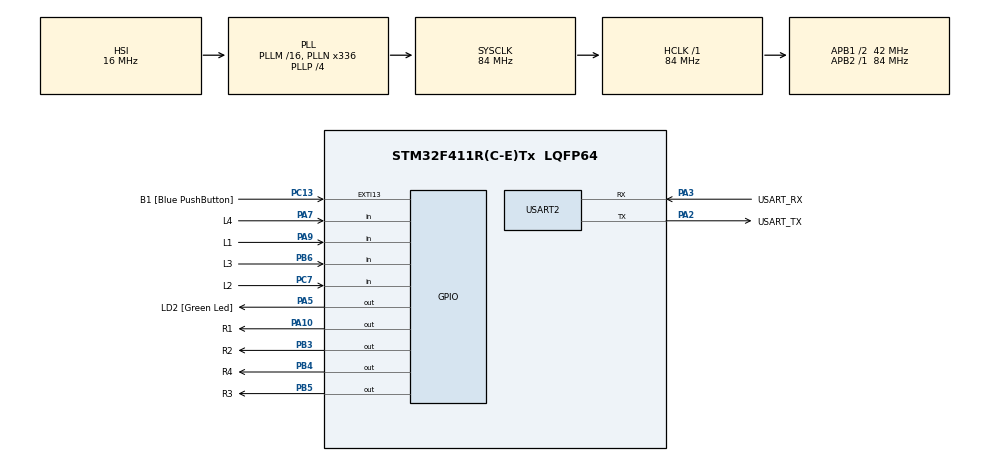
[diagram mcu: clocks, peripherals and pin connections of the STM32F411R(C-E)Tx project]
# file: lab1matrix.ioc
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Mcu.Family=STM32F4
Mcu.Name=STM32F411R(C-E)Tx
Mcu.Package=LQFP64
NVIC.PriorityGroup=NVIC_PRIORITYGROUP_0
PA10.GPIO_Label=R1
PA10.Signal=GPIO_Output
PA13.GPIO_Label=TMS
PA13.Mode=Serial_Wire
PA13.Signal=SYS_JTMS-SWDIO
PA14.GPIO_Label=TCK
PA14.Mode=Serial_Wire
PA14.Signal=SYS_JTCK-SWCLK
PA2.GPIO_Label=USART_TX
PA2.Mode=Asynchronous
PA2.Signal=USART2_TX
PA3.GPIO_Label=USART_RX
PA3.Mode=Asynchronous
PA3.Signal=USART2_RX
PA5.GPIO_Label=LD2 [Green Led]
PA5.Signal=GPIO_Output
PA7.GPIO_Label=L4
PA7.GPIO_PuPd=GPIO_PULLUP
PA7.Signal=GPIO_Input
PA9.GPIO_Label=L1
PA9.GPIO_PuPd=GPIO_PULLUP
PA9.Signal=GPIO_Input
PB3.GPIO_Label=R2
PB3.Signal=GPIO_Output
PB4.GPIO_Label=R4
PB4.Signal=GPIO_Output
PB5.GPIO_Label=R3
PB5.Signal=GPIO_Output
PB6.GPIO_Label=L3
PB6.GPIO_PuPd=GPIO_PULLUP
PB6.Signal=GPIO_Input
PC13-ANTI_TAMP.GPIO_Label=B1 [Blue PushButton]
PC13-ANTI_TAMP.GPIO_ModeDefaultEXTI=GPIO_MODE_IT_FALLING
PC13-ANTI_TAMP.Signal=GPXTI13
PC14-OSC32_IN.Mode=LSE-External-Oscillator
PC14-OSC32_IN.Signal=RCC_OSC32_IN
PC15-OSC32_OUT.Mode=LSE-External-Oscillator
PC15-OSC32_OUT.Signal=RCC_OSC32_OUT
PC7.GPIO_Label=L2
PC7.GPIO_PuPd=GPIO_PULLUP
PC7.Signal=GPIO_Input
PH0\ -\ OSC_IN.Mode=HSE-External-Clock-Source
PH0\ -\ OSC_IN.Signal=RCC_OSC_IN
PH1\ -\ OSC_OUT.Mode=HSE-External-Clock-Source
PH1\ -\ OSC_OUT.Signal=RCC_OSC_OUT
ProjectManager.HeapSize=0x200
ProjectManager.StackSize=0x400
ProjectManager.TargetToolchain=STM32CubeIDE
RCC.48MHZClocksFreq_Value=84000000
RCC.AHBFreq_Value=84000000
RCC.APB1CLKDivider=RCC_HCLK_DIV2
RCC.APB1Freq_Value=42000000
RCC.APB1TimFreq_Value=84000000
RCC.APB2Freq_Value=84000000
RCC.APB2TimFreq_Value=84000000
RCC.CortexFreq_Value=84000000
RCC.FLatency-AdvancedSettings=FLASH_LATENCY_2
RCC.HCLKFreq_Value=84000000
RCC.HSE_VALUE=8000000
RCC.HSI_VALUE=16000000
RCC.PLLN=336
RCC.PLLP=RCC_PLLP_DIV4
RCC.SYSCLKFreq_VALUE=84000000
RCC.SYSCLKSource=RCC_SYSCLKSOURCE_PLLCLK
RCC.VCOOutputFreq_Value=336000000
USART2.VirtualMode=VM_ASYNC
board=NUCLEO-F411RE

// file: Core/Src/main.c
/* USER CODE BEGIN Header */
/**
 ******************************************************************************
 * @file           : main.c
 * @brief          : Main program body
 ******************************************************************************
 * @attention
 *
 * Copyright (c) 2023 STMicroelectronics.
 * All rights reserved.
 *
 * This software is licensed under terms that can be found in the LICENSE file
 * in the root directory of this software component.
 * If no LICENSE file comes with this software, it is provided AS-IS.
 *
 ******************************************************************************
 */
/* USER CODE END Header */
#include "main.h"

UART_HandleTypeDef huart2;

/* USER CODE BEGIN PV */
typedef struct _PortPin {
	GPIO_TypeDef *PORT;
	uint16_t PIN;
} PortPin;

PortPin R[4] = { { GPIOA, GPIO_PIN_10 }, { GPIOB, GPIO_PIN_3 }, { GPIOB,
GPIO_PIN_5 }, { GPIOB, GPIO_PIN_4 } };

PortPin L[4] = { { GPIOA, GPIO_PIN_9 }, { GPIOC, GPIO_PIN_7 }, { GPIOB,
GPIO_PIN_6 }, { GPIOA, GPIO_PIN_7 } };
uint16_t Number[13];
int num = 0;
int state = 0;
int savenum = 0;
int fake = 0;
int chick = 0;
uint16_t ButtonMatrix = 0;

/* USER CODE END PV */

void SystemClock_Config(void);
static void MX_GPIO_Init(void);
static void MX_USART2_UART_Init(void);
/* USER CODE BEGIN PFP */
void ReadMatrixButton_1Row();
/* USER CODE END PFP */

int main(void) {

	/* MCU Configuration--------------------------------------------------------*/

	/* Reset of all peripherals, Initializes the Flash interface and the Systick. */
	HAL_Init();

	/* Configure the system clock */
	SystemClock_Config();

	/* Initialize all configured peripherals */
	MX_GPIO_Init();
	MX_USART2_UART_Init();

	/* Infinite loop */
	while (1) {

		/* USER CODE BEGIN 3 */
		static uint32_t timestamp = 0;
		if (HAL_GetTick() >= timestamp) {
			timestamp = HAL_GetTick() + 10;
			ReadMatrixButton_1Row();

		}
		if (num == 0 & ButtonMatrix > 0) {
			chick = 1;
		} else {

			chick = 0;
		}
		num = ButtonMatrix;

		switch (state) {
		case 0:
			if (ButtonMatrix == 1 & chick == 1) {
				state = 0;

			} else if (ButtonMatrix == 512 & chick == 1) //6
					{
				Number[0] = 6;
				state = 1;
			} else if (ButtonMatrix != 512 & chick == 1) {
				state = 11;
			}

			break;
		case 1:
			if (ButtonMatrix == 1 & chick == 1) {
				state = 0;
				Number[0] = 0;
				Number[1] = 0;
				Number[2] = 0;
				Number[3] = 0;
				Number[4] = 0;
				Number[5] = 0;
				Number[6] = 0;
				Number[7] = 0;
				Number[8] = 0;
				Number[9] = 0;
				Number[10] = 0;
			} else if (ButtonMatrix == 8192 & chick == 1) // 4
					{
				Number[1] = 4;
				state = 2;
			} else if (ButtonMatrix != 8192 & chick == 1) {
				state = 11;
			}

			break;
		case 2:
			if (ButtonMatrix == 1 & chick == 1) {
				state = 0;
				Number[0] = 0;
				Number[1] = 0;
				Number[2] = 0;
				Number[3] = 0;
				Number[4] = 0;
				Number[5] = 0;
				Number[6] = 0;
				Number[7] = 0;
				Number[8] = 0;
				Number[9] = 0;
				Number[10] = 0;
			} else if (ButtonMatrix == 1024 & chick == 1) // 3
					{
				Number[2] = 3;
				state = 3;
			} else if (ButtonMatrix != 1024 & chick == 1) {
				state = 11;
			}
			break;
		case 3:
			if(ButtonMatrix == 1 & chick == 1){
				state = 0 ;
				Number[0] = 0;
			    Number[1] = 0;
				Number[2] = 0;
				Number[3] = 0;
				Number[4] = 0;
				Number[5] = 0;
				Number[6] = 0;
				Number[7] = 0;
				Number[8] = 0;
				Number[9] = 0;
				Number[10] = 0;
			}
			  else if (ButtonMatrix == 8192 & chick == 1) // 4
					{
				Number[3] = 4;
				state = 4;
			} else if (ButtonMatrix != 8192 & chick == 1) {
				state = 11;
			}
			break;
		case 4:
			if(ButtonMatrix == 1 & chick == 1){
				state = 0;
				Number[0] = 0;
				Number[1] = 0;
				Number[2] = 0;
				Number[3] = 0;
				Number[4] = 0;
				Number[5] = 0;
				Number[6] = 0;
				Number[7] = 0;
				Number[8] = 0;
				Number[9] = 0;
				Number[10] = 0;
			}
		      else if (ButtonMatrix == 32768 & chick == 1) // 0
					{
				Number[4] = 0;
				state = 5;
			} else if (ButtonMatrix != 32768 & chick == 1) {
				state = 11;
			}
			break;
		case 5:
			if(ButtonMatrix == 1 & chick == 1)
			{
				state = 0;
				Number[0] = 0;
				Number[1] = 0;
				Number[2] = 0;
				Number[3] = 0;
				Number[4] = 0;
			    Number[5] = 0;
				Number[6] = 0;
				Number[7] = 0;
				Number[8] = 0;
				Number[9] = 0;
				Number[10] = 0;
			}
		      else if (ButtonMatrix == 32 & chick == 1) // 5
					{
				Number[5] = 5;
				state = 6;
			} else if (ButtonMatrix != 32 & chick == 1) {
				state = 11;
			}
			break;
		case 6:
			if(ButtonMatrix == 1 & chick == 1)
			{
				state = 0;
				Number[0] = 0;
				Number[1] = 0;
				Number[2] = 0;
				Number[3] = 0;
				Number[4] = 0;
				Number[5] = 0;
				Number[6] = 0;
				Number[7] = 0;
				Number[8] = 0;
			    Number[9] = 0;
				Number[10] = 0;
			}
			else if (ButtonMatrix == 32768 & chick == 1) // 0
					{
				Number[6] = 0;
				state = 7;
			} else if (ButtonMatrix != 32768 & chick == 1) {
				state = 11;
			}
			break;
		case 7:
             if(ButtonMatrix == 1 & chick == 1)
             {
            	 state = 0;
            	 Number[0] = 0;
            	 Number[1] = 0;
            	 Number[2] = 0;
            	 Number[3] = 0;
            	 Number[4] = 0;
            	 Number[5] = 0;
            	 Number[6] = 0;
            	 Number[7] = 0;
            	 Number[8] = 0;
            	 Number[9] = 0;
            	 Number[10] = 0;
             }
             else if (ButtonMatrix == 32768 & chick == 1) // 0
					{
				Number[7] = 0;
				state = 8;
			} else if (ButtonMatrix != 32768 & chick == 1) {
				state = 11;
			}
			break;
		case 8:
			if(ButtonMatrix == 1 & chick == 1)
			{
				state = 0;
				Number[0] = 0;
				Number[1] = 0;
				Number[2] = 0;
				Number[3] = 0;
				Number[4] = 0;
				Number[5] = 0;
				Number[6] = 0;
				Number[7] = 0;
				Number[8] = 0;
				Number[9] = 0;
				Number[10] = 0;
			}
			else if (ButtonMatrix == 32768 & chick == 1) // 0
					{
				Number[8] = 0;
				state = 9;
			} else if (ButtonMatrix != 32768 & chick == 1) {
				state = 11;
			}
			break;
		case 9:
			if (ButtonMatrix == 1 & chick == 1)
			{
				state = 0;
				Number[0] = 0;
		    	Number[1] = 0;
				Number[2] = 0;
				Number[3] = 0;
				Number[4] = 0;
				Number[5] = 0;
				Number[6] = 0;
				Number[7] = 0;
				Number[8] = 0;
				Number[9] = 0;
				Number[10] = 0;
			}
			else if (ButtonMatrix == 32 & chick == 1) // 5
					{
				Number[9] = 5;
				state = 10;
			} else if (ButtonMatrix != 32 & chick == 1) {
				state = 11;
			}
			break;
		case 10:
			if(ButtonMatrix == 1 & chick == 1)
			{
				state = 0;
				Number[0] = 0;
				Number[1] = 0;
				Number[2] = 0;
				Number[3] = 0;
				Number[4] = 0;
				Number[5] = 0;
				Number[6] = 0;
				Number[7] = 0;
				Number[8] = 0;
			    Number[9] = 0;
			    Number[10] = 0;
			}
			if (ButtonMatrix == 32768 & chick == 1) // 0
					{
				Number[10] = 0;
				state = 12;
			} else if (ButtonMatrix == 32768 & chick == 1) {
				state = 11;
			}
			break;

		case 11:
			HAL_GPIO_WritePin(GPIOA, GPIO_PIN_5, RESET);
			if (ButtonMatrix == 1 & chick == 1) {
				state = 0;

				Number[0] = 0;
				Number[1] = 0;
				Number[2] = 0;
				Number[3] = 0;
				Number[4] = 0;
				Number[5] = 0;
				Number[6] = 0;
				Number[7] = 0;
				Number[8] = 0;
				Number[9] = 0;
				Number[10] = 0;

			}
			break;
		case 12:

			if (ButtonMatrix == 8 & chick == 1) {
				fake = 1;
				state = 13;
			} else if (ButtonMatrix != 8 & chick == 1) {
				state = 11;
			}
			break;
		case 13:
			HAL_GPIO_WritePin(GPIOA, GPIO_PIN_5, GPIO_PIN_SET);
			if (ButtonMatrix == 1 & chick == 1) {
				state = 0;
				Number[0] = 0;
			    Number[1] = 0;
			    Number[2] = 0;
				Number[3] = 0;
				Number[4] = 0;
				Number[5] = 0;
				Number[6] = 0;
				Number[7] = 0;
				Number[8] = 0;
				Number[9] = 0;
				Number[10] = 0;
			}

			break;

		}

	}
}
/* USER CODE END 3 */

void SystemClock_Config(void) {
	RCC_OscInitTypeDef RCC_OscInitStruct = { 0 };
	RCC_ClkInitTypeDef RCC_ClkInitStruct = { 0 };

	/** Configure the main internal regulator output voltage
	 */
	__HAL_RCC_PWR_CLK_ENABLE();
	__HAL_PWR_VOLTAGESCALING_CONFIG(PWR_REGULATOR_VOLTAGE_SCALE1);

	/** Initializes the RCC Oscillators according to the specified parameters
	 * in the RCC_OscInitTypeDef structure.
	 */
	RCC_OscInitStruct.OscillatorType = RCC_OSCILLATORTYPE_HSI;
	RCC_OscInitStruct.HSIState = RCC_HSI_ON;
	RCC_OscInitStruct.HSICalibrationValue = RCC_HSICALIBRATION_DEFAULT;
	RCC_OscInitStruct.PLL.PLLState = RCC_PLL_ON;
	RCC_OscInitStruct.PLL.PLLSource = RCC_PLLSOURCE_HSI;
	RCC_OscInitStruct.PLL.PLLM = 16;
	RCC_OscInitStruct.PLL.PLLN = 336;
	RCC_OscInitStruct.PLL.PLLP = RCC_PLLP_DIV4;
	RCC_OscInitStruct.PLL.PLLQ = 4;
	if (HAL_RCC_OscConfig(&RCC_OscInitStruct) != HAL_OK) {
		Error_Handler();
	}

	/** Initializes the CPU, AHB and APB buses clocks
	 */
	RCC_ClkInitStruct.ClockType = RCC_CLOCKTYPE_HCLK | RCC_CLOCKTYPE_SYSCLK
			| RCC_CLOCKTYPE_PCLK1 | RCC_CLOCKTYPE_PCLK2;
	RCC_ClkInitStruct.SYSCLKSource = RCC_SYSCLKSOURCE_PLLCLK;
	RCC_ClkInitStruct.AHBCLKDivider = RCC_SYSCLK_DIV1;
	RCC_ClkInitStruct.APB1CLKDivider = RCC_HCLK_DIV2;
	RCC_ClkInitStruct.APB2CLKDivider = RCC_HCLK_DIV1;

	if (HAL_RCC_ClockConfig(&RCC_ClkInitStruct, FLASH_LATENCY_2) != HAL_OK) {
		Error_Handler();
	}
}

static void MX_USART2_UART_Init(void) {

	huart2.Instance = USART2;
	huart2.Init.BaudRate = 115200;
	huart2.Init.WordLength = UART_WORDLENGTH_8B;
	huart2.Init.StopBits = UART_STOPBITS_1;
	huart2.Init.Parity = UART_PARITY_NONE;
	huart2.Init.Mode = UART_MODE_TX_RX;
	huart2.Init.HwFlowCtl = UART_HWCONTROL_NONE;
	huart2.Init.OverSampling = UART_OVERSAMPLING_16;
	if (HAL_UART_Init(&huart2) != HAL_OK) {
		Error_Handler();
	}

}

static void MX_GPIO_Init(void) {
	GPIO_InitTypeDef GPIO_InitStruct = { 0 };

	/* GPIO Ports Clock Enable */
	__HAL_RCC_GPIOC_CLK_ENABLE();
	__HAL_RCC_GPIOH_CLK_ENABLE();
	__HAL_RCC_GPIOA_CLK_ENABLE();
	__HAL_RCC_GPIOB_CLK_ENABLE();

	/*Configure GPIO pin Output Level */
	HAL_GPIO_WritePin(GPIOA, LD2_Pin | R1_Pin, GPIO_PIN_RESET);

	/*Configure GPIO pin Output Level */
	HAL_GPIO_WritePin(GPIOB, R2_Pin | R4_Pin | R3_Pin, GPIO_PIN_RESET);

	/*Configure GPIO pin : B1_Pin */
	GPIO_InitStruct.Pin = B1_Pin;
	GPIO_InitStruct.Mode = GPIO_MODE_IT_FALLING;
	GPIO_InitStruct.Pull = GPIO_NOPULL;
	HAL_GPIO_Init(B1_GPIO_Port, &GPIO_InitStruct);

	/*Configure GPIO pins : LD2_Pin R1_Pin */
	GPIO_InitStruct.Pin = LD2_Pin | R1_Pin;
	GPIO_InitStruct.Mode = GPIO_MODE_OUTPUT_PP;
	GPIO_InitStruct.Pull = GPIO_NOPULL;
	GPIO_InitStruct.Speed = GPIO_SPEED_FREQ_LOW;
	HAL_GPIO_Init(GPIOA, &GPIO_InitStruct);

	/*Configure GPIO pins : L4_Pin L1_Pin */
	GPIO_InitStruct.Pin = L4_Pin | L1_Pin;
	GPIO_InitStruct.Mode = GPIO_MODE_INPUT;
	GPIO_InitStruct.Pull = GPIO_PULLUP;
	HAL_GPIO_Init(GPIOA, &GPIO_InitStruct);

	/*Configure GPIO pin : L2_Pin */
	GPIO_InitStruct.Pin = L2_Pin;
	GPIO_InitStruct.Mode = GPIO_MODE_INPUT;
	GPIO_InitStruct.Pull = GPIO_PULLUP;
	HAL_GPIO_Init(L2_GPIO_Port, &GPIO_InitStruct);

	/*Configure GPIO pins : R2_Pin R4_Pin R3_Pin */
	GPIO_InitStruct.Pin = R2_Pin | R4_Pin | R3_Pin;
	GPIO_InitStruct.Mode = GPIO_MODE_OUTPUT_PP;
	GPIO_InitStruct.Pull = GPIO_NOPULL;
	GPIO_InitStruct.Speed = GPIO_SPEED_FREQ_LOW;
	HAL_GPIO_Init(GPIOB, &GPIO_InitStruct);

	/*Configure GPIO pin : L3_Pin */
	GPIO_InitStruct.Pin = L3_Pin;
	GPIO_InitStruct.Mode = GPIO_MODE_INPUT;
	GPIO_InitStruct.Pull = GPIO_PULLUP;
	HAL_GPIO_Init(L3_GPIO_Port, &GPIO_InitStruct);

}

/* USER CODE BEGIN 4 */
void ReadMatrixButton_1Row() {
	static uint8_t X = 0;
	register int i;
	for (i = 0; i < 4; i++) {
		if (HAL_GPIO_ReadPin(L[i].PORT, L[i].PIN)) {
			ButtonMatrix &= ~(1 << (X * 4 + i));
		} else {
			ButtonMatrix |= 1 << (X * 4 + i);
		}
	}
	HAL_GPIO_WritePin(R[X].PORT, R[X].PIN, 1);
	HAL_GPIO_WritePin(R[(X + 1) % 4].PORT, R[(X + 1) % 4].PIN, 0);
	X++;
	X %= 4;
}

/* USER CODE END 4 */

void Error_Handler(void) {
	__disable_irq();
	while (1) {
	}
}
